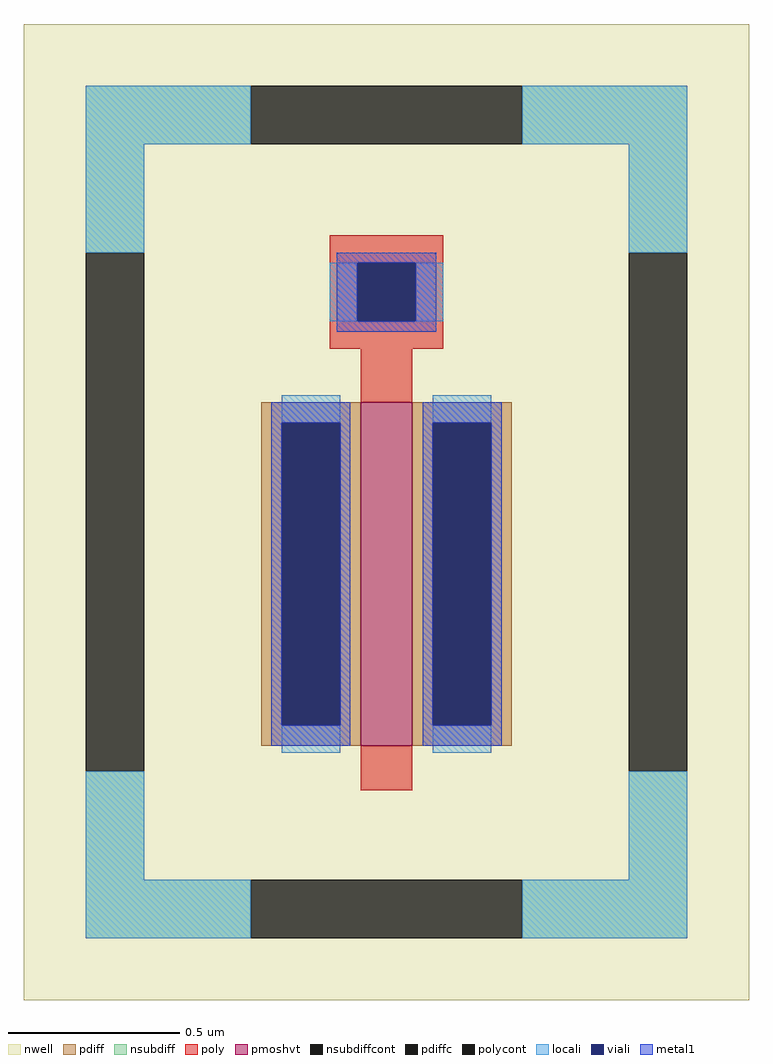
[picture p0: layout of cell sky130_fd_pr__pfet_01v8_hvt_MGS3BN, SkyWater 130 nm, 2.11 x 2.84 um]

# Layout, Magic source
magic
tech sky130A
magscale 1 2
<< nwell >>
rect -211 -284 211 284
<< pmoshvt >>
rect -15 -136 15 64
<< pdiff >>
rect -73 52 -15 64
rect -73 -124 -61 52
rect -27 -124 -15 52
rect -73 -136 -15 -124
rect 15 52 73 64
rect 15 -124 27 52
rect 61 -124 73 52
rect 15 -136 73 -124
<< pdiffc >>
rect -61 -124 -27 52
rect 27 -124 61 52
<< nsubdiff >>
rect -175 214 -79 248
rect 79 214 175 248
rect -175 151 -141 214
rect 141 151 175 214
rect -175 -214 -141 -151
rect 141 -214 175 -151
rect -175 -248 -79 -214
rect 79 -248 175 -214
<< nsubdiffcont >>
rect -79 214 79 248
rect -175 -151 -141 151
rect 141 -151 175 151
rect -79 -248 79 -214
<< poly >>
rect -33 145 33 161
rect -33 111 -17 145
rect 17 111 33 145
rect -33 95 33 111
rect -15 64 15 95
rect -15 -162 15 -136
<< polycont >>
rect -17 111 17 145
<< locali >>
rect -175 214 -79 248
rect 79 214 175 248
rect -175 151 -141 214
rect 141 151 175 214
rect -33 111 -17 145
rect 17 111 33 145
rect -61 52 -27 68
rect -61 -140 -27 -124
rect 27 52 61 68
rect 27 -140 61 -124
rect -175 -214 -141 -151
rect 141 -214 175 -151
rect -175 -248 -79 -214
rect 79 -248 175 -214
<< viali >>
rect -17 111 17 145
rect -61 -124 -27 52
rect 27 -124 61 52
<< metal1 >>
rect -29 145 29 151
rect -29 111 -17 145
rect 17 111 29 145
rect -29 105 29 111
rect -67 52 -21 64
rect -67 -124 -61 52
rect -27 -124 -21 52
rect -67 -136 -21 -124
rect 21 52 67 64
rect 21 -124 27 52
rect 61 -124 67 52
rect 21 -136 67 -124
<< properties >>
string FIXED_BBOX -158 -231 158 231
string gencell sky130_fd_pr__pfet_01v8_hvt
string library sky130
string parameters w 1.0 l 0.15 m 1 nf 1 diffcov 100 polycov 100 guard 1 glc 1 grc 1 gtc 1 gbc 1 tbcov 100 rlcov 100 topc 1 botc 0 poverlap 0 doverlap 1 lmin 0.15 wmin 0.42 compatible {sky130_fd_pr__pfet_01v8  sky130_fd_pr__pfet_01v8_lvt sky130_fd_pr__pfet_01v8_hvt  sky130_fd_pr__pfet_g5v0d10v5} full_metal 1 viasrc 100 viadrn 100 viagate 100 viagb 0 viagr 0 viagl 0 viagt 0
<< end >>
